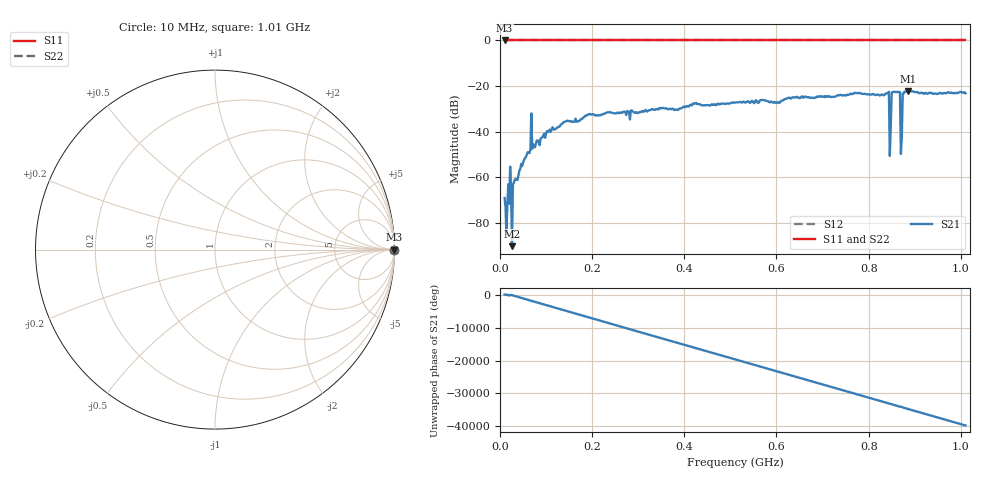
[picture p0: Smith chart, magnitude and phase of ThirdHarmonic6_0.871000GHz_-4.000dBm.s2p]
! 8/16/2025 4:44:41 AM
! C:\ANRITSUVNA\TEMP\TEMP.S2P
! CHANNEL.1
! TR.MEASUREMENT
! RAW.DATA
! RF.CORRECTION.OFF
! AVERAGING.OFF
! IF.BANDWIDTH: 5KHZ
! SWEEPTYPE:  FREQ.SWEEP(Linear)
! Reference Plane Port Info
! PORT:  PORT1  PORT2
! DISTANCE:  0  m  0  m
! TIME:  0  s  0  s
! PHASE.OFFSET:  0  deg.  0  deg.
! LOSS:  0  dB  0  dB
! REF.LOSS:  0  dB  0  dB
! REF.FREQ:  0  Hz  0  Hz
! Power Info
! POWER:  -20  dBm  -20  dBm
! EFF.POWER:  -20  dBm  -20  dBm
! SOURCE.ATTEN:  0  dB  0  dB
! TEST.ATTEN:  0  dB  0  dB
# GHZ S RI R 50.0
! FREQ.GHZ  S11RE  S11IM  S21RE  S21IM  S12RE  S12IM  S22RE  S22IM
!; PortSelection: Port_12
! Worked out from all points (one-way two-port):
!   501 points, 10 MHz to 1.01 GHz, reference 50 ohm
!   highest |S21| = -22.20 dB at 886 MHz (marker M1); lowest = -90.3 dB at 26 MHz (marker M2)
!   lowest |S11| = 0.0 dB at 10 MHz (marker M3)
!   |S11| at or under -10 dB: nowhere
!   |S22| runs from 0.0 to 0.0 dB; largest |S21 - S12| = 1.1
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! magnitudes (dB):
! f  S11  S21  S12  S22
! 10 MHz  0.0  -69.2  0.0  0.0
! 16 MHz  0.0  -71.9  0.0  0.0
! 20 MHz  0.0  -71.7  0.0  0.0
! 26 MHz  0.0  -90.3  0.0  0.0
! 30 MHz  0.0  -62.4  0.0  0.0
! 70 MHz  0.0  -47.5  0.0  0.0
! 74 MHz  0.0  -46.0  0.0  0.0
! 142 MHz  0.0  -35.5  0.0  0.0
! 178 MHz  0.0  -34.3  0.0  0.0
! 344 MHz  0.0  -30.3  0.0  0.0
! 510 MHz  0.0  -27.3  0.0  0.0
! 678 MHz  0.0  -25.1  0.0  0.0
! 840 MHz  0.0  -23.2  0.0  0.0
! 844 MHz  0.0  -22.5  0.0  0.0
! 850 MHz  0.0  -22.9  0.0  0.0
! 854 MHz  0.0  -22.6  0.0  0.0
! 864 MHz  0.0  -22.7  0.0  0.0
! 868 MHz  0.0  -22.6  0.0  0.0
! 874 MHz  0.0  -23.3  0.0  0.0
! 878 MHz  0.0  -22.4  0.0  0.0
! 886 MHz  0.0  -22.2  0.0  0.0
! 1.01 GHz  0.0  -23.2  0.0  0.0
